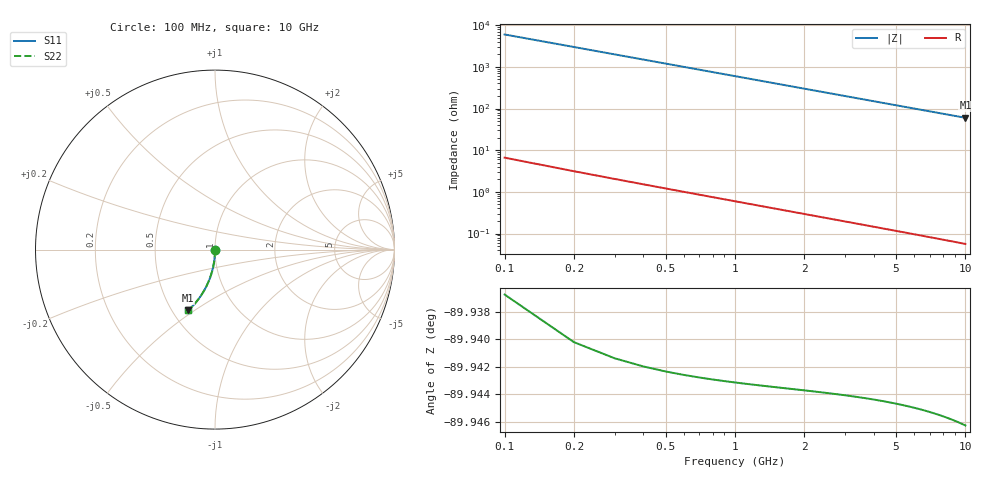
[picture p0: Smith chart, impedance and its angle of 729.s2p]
# Hz S RI R 50.00
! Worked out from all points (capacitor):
!   100 points, 100 MHz to 10 GHz, reference 50 ohm
!   read as one part in shunt: C = 265 fF near 100 MHz
!   lowest |Z| = 60.1 ohm at 10 GHz (marker M1)
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1e8  0.00011 -0.00399  0.9998 -0.00433  0.9998 -0.00433  0.00011 -0.00399
2e8  5.51e-05 -0.00797  0.9998 -0.00867  0.9998 -0.00867  5.51e-05 -0.00797
3e8  -3.47e-05 -0.012  0.9997 -0.013  0.9997 -0.013  -3.47e-05 -0.012
4e8  -0.000159 -0.0159  0.9996 -0.0173  0.9996 -0.0173  -0.000159 -0.0159
5e8  -0.000318 -0.0199  0.9994 -0.0217  0.9994 -0.0217  -0.000318 -0.0199
6e8  -0.000512 -0.0239  0.9992 -0.026  0.9992 -0.026  -0.000512 -0.0239
7e8  -0.00074 -0.0279  0.999 -0.0303  0.999 -0.0303  -0.00074 -0.0279
8e8  -0.001 -0.0319  0.9987 -0.0346  0.9987 -0.0346  -0.001 -0.0319
9e8  -0.0013 -0.0358  0.9984 -0.0389  0.9984 -0.0389  -0.0013 -0.0358
1.1e9  -0.002 -0.0438  0.9977 -0.0476  0.9977 -0.0476  -0.002 -0.0438
1.4e9  -0.0033 -0.0556  0.9964 -0.0605  0.9964 -0.0605  -0.0033 -0.0556
1.8e9  -0.0055 -0.0714  0.9942 -0.0776  0.9942 -0.0776  -0.0055 -0.0714
2.1e9  -0.00751 -0.0831  0.9922 -0.0904  0.9922 -0.0904  -0.00751 -0.0831
2.5e9  -0.0107 -0.0986  0.989 -0.1073  0.989 -0.1073  -0.0107 -0.0986
2.9e9  -0.0143 -0.1139  0.9853 -0.124  0.9853 -0.124  -0.0143 -0.1139
3.4e9  -0.0196 -0.1329  0.98 -0.1447  0.98 -0.1447  -0.0196 -0.1329
4.2e9  -0.0297 -0.1624  0.9699 -0.177  0.9699 -0.177  -0.0297 -0.1624
5.1e9  -0.0432 -0.1945  0.9563 -0.2122  0.9563 -0.2122  -0.0432 -0.1945
5.9e9  -0.0571 -0.2217  0.9424 -0.2422  0.9424 -0.2422  -0.0571 -0.2217
6.7e9  -0.0725 -0.2476  0.9269 -0.2709  0.9269 -0.2709  -0.0725 -0.2476
8.4e9  -0.1097 -0.2978  0.8896 -0.3271  0.8896 -0.3271  -0.1097 -0.2978
1e10  -0.149 -0.3386  0.8501 -0.3735  0.8501 -0.3735  -0.149 -0.3386
